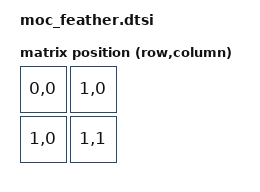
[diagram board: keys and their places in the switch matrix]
/*
 * Copyright (c) 2022 The ZMK Contributors
 *
 * SPDX-License-Identifier: MIT
 */

#include <dt-bindings/zmk/matrix_transform.h>
#include "moc_feather-layouts.dtsi"

&feather_i2c    { status = "disabled"; };
&feather_spi    { status = "disabled"; };

&physical_layout0 {
	transform = <&matrix_transform0>;
};

/ {
	chosen {
		zmk,kscan = &kscan0;
		zmk,physical-layout = &physical_layout0;
	};
	
	kscan0: kscan {
		     compatible = "zmk,kscan-gpio-matrix";
		          label = "KSCAN";
		diode-direction = "col2row";
	};
	
	matrix_transform0: keymap_transform_0 {
		compatible = "zmk,matrix-transform";
		   columns = <2>;
		      rows = <2>;
		       map = <
                  RC(0,0) RC(1,0)
                  RC(1,0) RC(1,1)
           >;
	};
	
};
